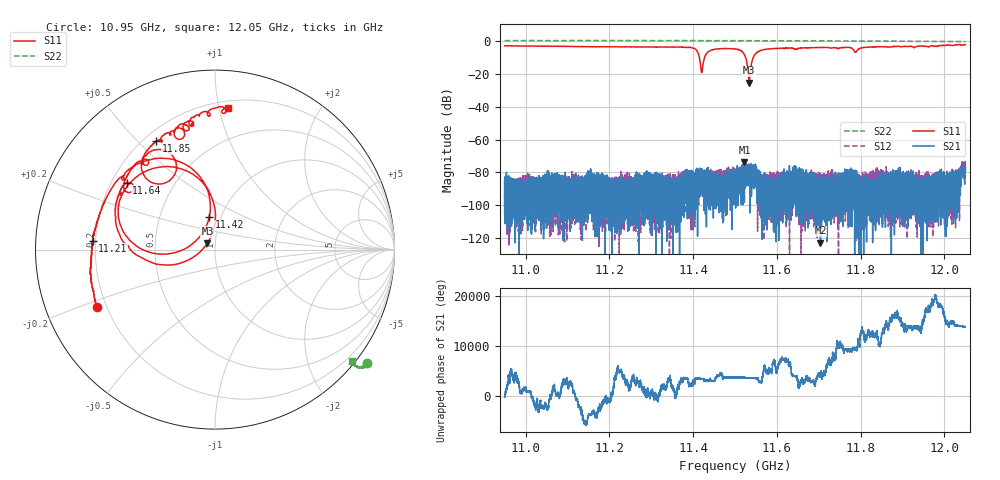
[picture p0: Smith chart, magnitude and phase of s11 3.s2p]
!Agilent Technologies,E8362C,MY49020356,A.09.42.23
!Agilent E8362C: A.09.42.23
!Date: Saturday, September 11, 2021 04:16:53
!Correction: S11(Full 2 Port(1,2))
!S21(Full 2 Port(1,2))
!S12(Full 2 Port(1,2))
!S22(Full 2 Port(1,2))
!S2P File: Measurements: S11, S21, S12, S22:
# Hz S  MA  R 50
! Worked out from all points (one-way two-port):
!   32001 points, 10.95 GHz to 12.05 GHz, reference 50 ohm
!   highest |S21| = -73.62 dB at 11.52 GHz (marker M1); lowest = -122.9 dB at 11.7 GHz (marker M2)
!   lowest |S11| = -25.2 dB at 11.53 GHz (marker M3), VSWR 1.12, Z = 45.9 + j3.29 ohm
!   |S11| at or under -10 dB: 11.41506 GHz to 11.42725 GHz (12.19 MHz wide, 0.107 % of centre); 11.52537 GHz to 11.54317 GHz (17.8 MHz wide, 0.154 % of centre)
!   |S22| runs from -0.2 to 0.5 dB; largest |S21 - S12| = 0.00018
!   S11 on the Smith chart (normalised r, x): 10.95 GHz: 0.16, -0.22; 11.21 GHz: 0.19, +0.04; 11.42 GHz: 0.88, +0.33; 11.64 GHz: 0.26, +0.31; 11.85 GHz: 0.25, +0.57; 12.05 GHz: 0.25, +1.06
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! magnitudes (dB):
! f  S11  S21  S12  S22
! 10.95 GHz  -2.7  -94.9  -106.1  0.5
! 11.13 GHz  -3.2  -91.2  -87.9  0.5
! 11.21 GHz  -3.3  -88.9  -94.9  0.5
! 11.32 GHz  -3.5  -91.7  -84.9  0.5
! 11.4 GHz  -4.1  -82.5  -95.3  0.5
! 11.41 GHz  -6.2  -86.8  -85.7  0.5
! 11.42 GHz  -14.7  -81.6  -85.0  0.4
! 11.42 GHz  -16.0  -82.0  -83.0  0.4
! 11.43 GHz  -7.7  -93.9  -96.2  0.4
! 11.44 GHz  -5.5  -81.9  -82.9  0.4
! 11.5 GHz  -4.6  -89.9  -84.0  0.4
! 11.52 GHz  -8.2  -73.6  -79.3  0.4
! 11.53 GHz  -25.2  -77.7  -81.1  0.4
! 11.55 GHz  -9.0  -77.5  -81.7  0.4
! 11.56 GHz  -6.2  -85.6  -83.8  0.4
! 11.64 GHz  -4.2  -80.9  -84.9  0.3
! 11.68 GHz  -3.9  -86.9  -87.6  0.3
! 11.7 GHz  -3.8  -122.9  -84.4  0.3
! 11.79 GHz  -6.7  -86.1  -84.4  0.2
! 11.85 GHz  -3.3  -88.6  -85.6  0.1
! 11.87 GHz  -3.5  -90.6  -90.7  0.1
! 12.05 GHz  -2.0  -77.1  -77.6  -0.2
